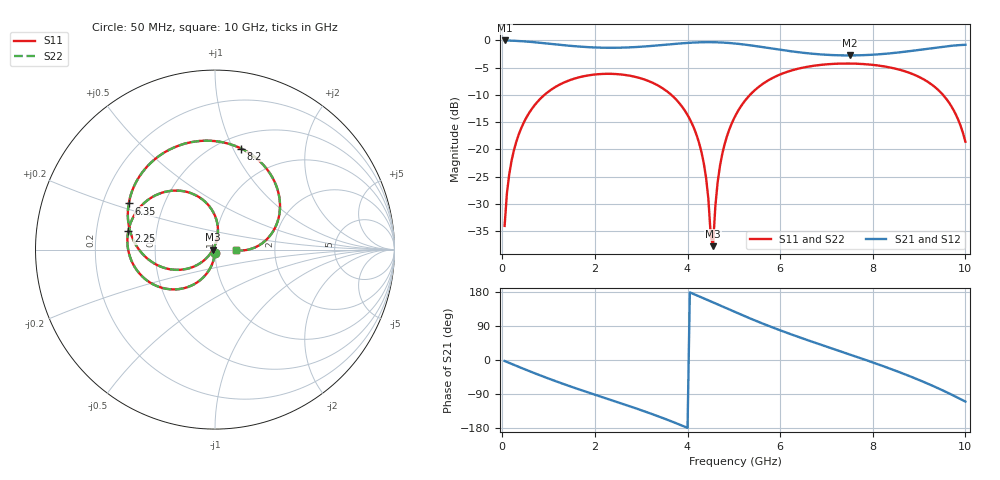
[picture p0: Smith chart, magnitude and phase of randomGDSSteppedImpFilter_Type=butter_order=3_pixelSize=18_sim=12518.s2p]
! freq	dB(S11)	phase(S11)	dB(S12)	phase(S12)
!  dB(S21)	phase(S21)	dB(S22)	phase(S22)
!S-par simulation data
#  GHz  S  DB  R 50
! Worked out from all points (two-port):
!   200 points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, 50 MHz to 10 GHz, reference 50 ohm
!   highest |S21| = 0.00 dB at 50 MHz (marker M1); lowest = -2.8 dB at 7.5 GHz (marker M2)
!   |S21| within 3 dB of the highest: start of sweep to end of sweep
!   lowest |S11| = -37.8 dB at 4.55 GHz (marker M3), VSWR 1.03, Z = 48.7 - j0.103 ohm
!   |S11| at or under -10 dB: start of sweep to 910.2 MHz; 3.65 GHz to 5.348 GHz (1.698 GHz wide, 37.7 % of centre); 9.516 GHz to end of sweep
!   |S22| runs from -37.6 to -4.2 dB; largest |S21 - S12| = 0
!   S11 on the Smith chart (normalised r, x): 50 MHz: 1.00, -0.04; 2.25 GHz: 0.34, +0.09; 6.35 GHz: 0.31, +0.23; 8.2 GHz: 0.63, +1.08; 10 GHz: 1.27, -0.01
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0.05  -34.05 -92.6  -0.00 -2.6  -0.00 -2.6  -34.05 -92.6
0.2  -22.10 -100.7  -0.04 -10.2  -0.04 -10.2  -22.10 -100.6
0.5  -14.47 -115.8  -0.19 -25.2  -0.19 -25.2  -14.47 -115.8
1.1  -8.79 -144.1  -0.68 -53.5  -0.68 -53.5  -8.79 -144.1
1.75  -6.59 -171.9  -1.18 -81.4  -1.18 -81.4  -6.59 -171.9
2.25  -6.13 167.9  -1.35 -101.6  -1.35 -101.6  -6.13 167.9
3.4  -8.45 120.0  -0.88 -150.1  -0.88 -150.1  -8.45 120.0
4.2  -17.49 83.6  -0.36 170.6  -0.36 170.6  -17.48 83.7
4.4  -25.20 79.1  -0.32 160.0  -0.32 160.0  -25.19 79.4
4.5  -35.66 101.3  -0.32 154.7  -0.32 154.7  -35.57 102.1
4.55  -37.77 -175.3  -0.32 152.0  -0.32 152.0  -37.61 -175.9
4.6  -30.51 -141.1  -0.33 149.3  -0.33 149.3  -30.48 -141.6
4.7  -23.06 -134.9  -0.36 143.9  -0.36 143.9  -23.06 -135.1
5.05  -13.55 -148.1  -0.59 125.2  -0.59 125.2  -13.55 -148.2
5.65  -7.83 -176.9  -1.26 94.8  -1.26 94.8  -7.82 -176.9
6.35  -5.27 151.8  -2.12 62.8  -2.12 62.8  -5.27 151.8
6.7  -4.68 137.2  -2.44 47.8  -2.44 47.8  -4.68 137.2
7.5  -4.24 104.6  -2.75 14.7  -2.75 14.7  -4.24 104.6
8.2  -4.71 75.4  -2.50 -15.1  -2.50 -15.1  -4.71 75.4
8.35  -4.93 68.9  -2.39 -21.8  -2.39 -21.8  -4.93 68.9
9.45  -9.40 17.4  -1.23 -76.8  -1.23 -76.8  -9.40 17.3
10  -18.59 -2.0  -0.80 -109.8  -0.80 -109.8  -18.60 -2.1
